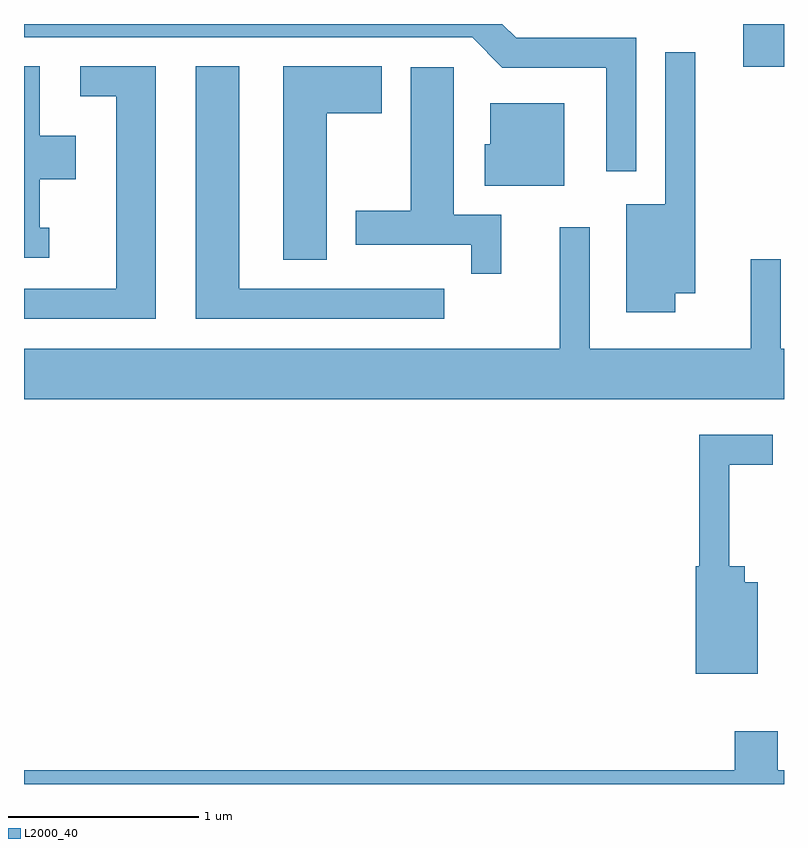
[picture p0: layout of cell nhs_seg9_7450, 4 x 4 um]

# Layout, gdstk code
import gdstk
lib = gdstk.Library(unit=1e-6, precision=1e-09)
def R(c, l, rs):  # rectangles x0, y0, x1, y1
    for r in rs: c.add(gdstk.rectangle(r[:2], r[2:], *l))
def P(c, l, *ps):  # polygons
    for p in ps: c.add(gdstk.Polygon(p, *l))
L2000_40 = (2000, 40)

nhs_seg9_7450 = lib.new_cell('nhs_seg9_7450')
R(nhs_seg9_7450, L2000_40, [(409.396,2020.206,409.611,2020.432)])
P(nhs_seg9_7450, L2000_40, [(408.834,2020.359),(408.202,2020.359),(408.129,2020.432),(405.611,2020.432),(405.611,2020.361),(407.969,2020.361),(408.129,2020.201),(408.676,2020.201),(408.676,2019.658),(408.834,2019.658)],
  [(409.039,2019.016),(409.144,2019.016),(409.144,2020.283),(408.986,2020.283),(408.986,2019.484),(408.781,2019.484),(408.781,2018.916),(409.039,2018.916)],
  [(407.823,2019.039),(406.744,2019.039),(406.744,2020.209),(406.516,2020.209),(406.516,2018.881),(407.823,2018.881)],
  [(405.743,2019.359),(405.694,2019.359),(405.694,2019.616),(405.884,2019.616),(405.884,2019.844),(405.694,2019.844),(405.694,2020.209),(405.611,2020.209),(405.611,2019.201),(405.743,2019.201)],
  [(407.204,2019.961),(407.494,2019.961),(407.494,2020.209),(406.976,2020.209),(406.976,2019.191),(407.204,2019.191)],
  [(406.304,2020.209),(405.908,2020.209),(405.908,2020.051),(406.096,2020.051),(406.096,2019.039),(405.611,2019.039),(405.611,2018.881),(406.304,2018.881)],
  [(408.124,2019.429),(407.874,2019.429),(407.874,2020.204),(407.646,2020.204),(407.646,2019.449),(407.356,2019.449),(407.356,2019.271),(407.966,2019.271),(407.966,2019.118),(408.124,2019.118)],
  [(408.454,2020.014),(408.066,2020.014),(408.066,2019.799),(408.036,2019.799),(408.036,2019.581),(408.454,2019.581)],
  [(409.611,2018.724),(409.594,2018.724),(409.594,2019.193),(409.436,2019.193),(409.436,2018.724),(408.589,2018.724),(408.589,2019.363),(408.431,2019.363),(408.431,2018.724),(405.611,2018.724),(405.611,2018.456),(409.611,2018.456)],
  [(409.474,2017.494),(409.404,2017.494),(409.404,2017.579),(409.324,2017.579),(409.324,2018.111),(409.553,2018.111),(409.553,2018.269),(409.166,2018.269),(409.166,2017.579),(409.146,2017.579),(409.146,2017.011),(409.474,2017.011)],
  [(409.611,2016.504),(409.579,2016.504),(409.579,2016.709),(409.351,2016.709),(409.351,2016.504),(405.611,2016.504),(405.611,2016.432),(409.611,2016.432)])

lib.write_gds('nhs_seg9_7450.gds')
